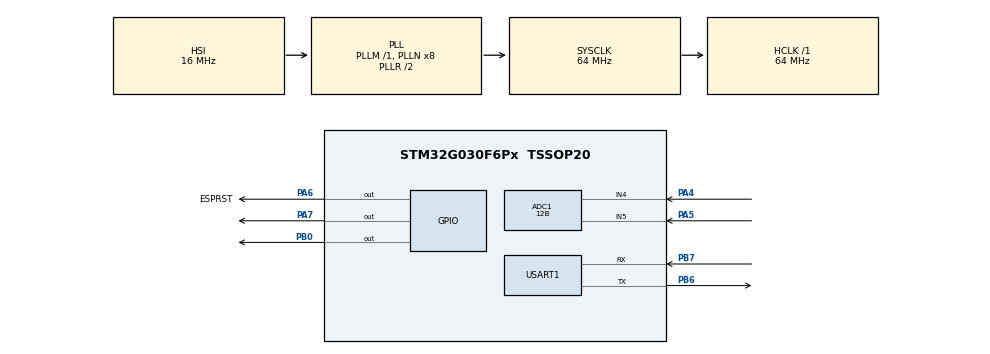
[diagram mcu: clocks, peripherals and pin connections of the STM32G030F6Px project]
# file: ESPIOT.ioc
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ADC1.Channel-0\#ChannelRegularConversion=ADC_CHANNEL_4
ADC1.Channel-1\#ChannelRegularConversion=ADC_CHANNEL_5
ADC1.ContinuousConvMode=DISABLE
ADC1.DMAContinuousRequests=ENABLE
ADC1.ExternalTrigConv=ADC_EXTERNALTRIG_T3_TRGO
ADC1.NbrOfConversion=2
ADC1.NbrOfConversionFlag=1
ADC1.Overrun=ADC_OVR_DATA_OVERWRITTEN
ADC1.OversamplingMode=ENABLE
ADC1.Rank-0\#ChannelRegularConversion=1
ADC1.Rank-1\#ChannelRegularConversion=2
ADC1.Ratio=ADC_OVERSAMPLING_RATIO_256
ADC1.Resolution=ADC_RESOLUTION_12B
ADC1.RightBitShift=ADC_RIGHTBITSHIFT_8
ADC1.SamplingTime-0\#ChannelRegularConversion=ADC_SAMPLINGTIME_COMMON_1
ADC1.SamplingTime-1\#ChannelRegularConversion=ADC_SAMPLINGTIME_COMMON_2
ADC1.SamplingTimeCommon1=ADC_SAMPLETIME_3CYCLES_5
ADC1.SamplingTimeCommon2=ADC_SAMPLETIME_79CYCLES_5
ADC1.SelectedChannel=ADC_CHANNEL_4|ADC_CHANNEL_5
ADC1.TriggeredMode=ADC_TRIGGEREDMODE_SINGLE_TRIGGER
ADC1.master=1
Dma.ADC1.0.Direction=DMA_PERIPH_TO_MEMORY
Dma.ADC1.0.EventEnable=DISABLE
Dma.ADC1.0.Instance=DMA1_Channel1
Dma.ADC1.0.MemDataAlignment=DMA_MDATAALIGN_HALFWORD
Dma.ADC1.0.MemInc=DMA_MINC_ENABLE
Dma.ADC1.0.Mode=DMA_CIRCULAR
Dma.ADC1.0.PeriphDataAlignment=DMA_PDATAALIGN_HALFWORD
Dma.ADC1.0.PeriphInc=DMA_PINC_DISABLE
Dma.ADC1.0.Polarity=HAL_DMAMUX_REQ_GEN_RISING
Dma.ADC1.0.Priority=DMA_PRIORITY_LOW
Dma.ADC1.0.RequestNumber=1
Dma.ADC1.0.SignalID=NONE
Dma.ADC1.0.SyncEnable=DISABLE
Dma.ADC1.0.SyncPolarity=HAL_DMAMUX_SYNC_NO_EVENT
Dma.ADC1.0.SyncRequestNumber=1
Dma.ADC1.0.SyncSignalID=NONE
Dma.Request0=ADC1
Dma.Request1=USART1_RX
Dma.USART1_RX.1.Direction=DMA_PERIPH_TO_MEMORY
Dma.USART1_RX.1.EventEnable=DISABLE
Dma.USART1_RX.1.Instance=DMA1_Channel2
Dma.USART1_RX.1.MemDataAlignment=DMA_MDATAALIGN_BYTE
Dma.USART1_RX.1.MemInc=DMA_MINC_ENABLE
Dma.USART1_RX.1.Mode=DMA_CIRCULAR
Dma.USART1_RX.1.PeriphDataAlignment=DMA_PDATAALIGN_BYTE
Dma.USART1_RX.1.PeriphInc=DMA_PINC_DISABLE
Dma.USART1_RX.1.Polarity=HAL_DMAMUX_REQ_GEN_RISING
Dma.USART1_RX.1.Priority=DMA_PRIORITY_LOW
Dma.USART1_RX.1.RequestNumber=1
Dma.USART1_RX.1.SignalID=NONE
Dma.USART1_RX.1.SyncEnable=DISABLE
Dma.USART1_RX.1.SyncPolarity=HAL_DMAMUX_SYNC_NO_EVENT
Dma.USART1_RX.1.SyncRequestNumber=1
Dma.USART1_RX.1.SyncSignalID=NONE
Mcu.Family=STM32G0
Mcu.Name=STM32G030F6Px
Mcu.Package=TSSOP20
NVIC.DMA1_Channel1_IRQn=true\:3\:0\:true\:false\:true\:false\:true\:true
NVIC.DMA1_Channel2_3_IRQn=true\:3\:0\:true\:false\:true\:false\:true\:true
PA13.Mode=Serial_Wire
PA13.Signal=SYS_SWDIO
PA14-BOOT0.Mode=Serial_Wire
PA14-BOOT0.Signal=SYS_SWCLK
PA14-BOOT0__PA15.StandardMode=true
PA4.Mode=IN4
PA4.Signal=ADC1_IN4
PA5.Mode=IN5
PA5.Signal=ADC1_IN5
PA6.GPIO_Label=ESPRST
PA6.Signal=GPIO_Output
PA7.Signal=GPIO_Output
PB0.Signal=GPIO_Output
PB0__PB1__PB2__PA8.StandardMode=true
PB3__PB4__PB5__PB6.StandardMode=true
PB6.Mode=Asynchronous
PB6.Signal=USART1_TX
PB7.Mode=Asynchronous
PB7.Signal=USART1_RX
PB7__PB8.StandardMode=true
PC14-OSC32_IN\ (PC14)__PB9.StandardMode=true
ProjectManager.HeapSize=0x200
ProjectManager.StackSize=0x400
ProjectManager.TargetToolchain=CMake
RCC.ADCFreq_Value=64000000
RCC.AHBFreq_Value=64000000
RCC.CortexFreq_Value=64000000
RCC.EXTERNAL_CLOCK_VALUE=12288000
RCC.HCLKFreq_Value=64000000
RCC.HSE_VALUE=8000000
RCC.HSI_VALUE=16000000
RCC.LSE_VALUE=32768
RCC.SYSCLKFreq_VALUE=64000000
RCC.SYSCLKSource=RCC_SYSCLKSOURCE_PLLCLK
RCC.VCOOutputFreq_Value=128000000
TIM3.Period=1200
TIM3.Prescaler=4-1
TIM3.TIM_MasterOutputTrigger=TIM_TRGO_UPDATE
USART1.FIFOMode=FIFOMODE_DISABLE
USART1.VirtualMode-Asynchronous=VM_ASYNC
VP_TIM3_VS_ClockSourceINT.Mode=Internal
board=custom

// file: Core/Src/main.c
/* USER CODE BEGIN Header */
/**
  ******************************************************************************
  * @file           : main.c
  * @brief          : Main program body
  ******************************************************************************
  * @attention
  *
  * Copyright (c) 2024 STMicroelectronics.
  * All rights reserved.
  *
  * This software is licensed under terms that can be found in the LICENSE file
  * in the root directory of this software component.
  * If no LICENSE file comes with this software, it is provided AS-IS.
  *
  ******************************************************************************
  */
/* USER CODE END Header */
#include "main.h"
#include "adc.h"
#include "dma.h"
#include "tim.h"
#include "usart.h"
#include "gpio.h"

/* USER CODE BEGIN Includes */
#include <string.h>
#include <math.h>
#include <stdio.h>

#include "../credentials.h"
#include "../ESP8266/esp8266.h"
#include "../wifihandler/wifihandler.h"
#include "../Flash/flash.h"
/* USER CODE END Includes */

/* USER CODE BEGIN PV */
uint16_t adc_buf[ADC_BUF_LEN];
uint32_t previous_voltage = 0;

WIFI_t wifi;
Connection_t conn;
/* USER CODE END PV */

void SystemClock_Config(void);

/* USER CODE BEGIN 0 */
float SENS_GetCurrent()
{
	float max = 0, min = 4096;
	// 12-bit ADC must be used
	for (uint32_t i = 0; i < ADC_BUF_LEN; i+=2)
	{
		if (adc_buf[i] > max)
			max = adc_buf[i];
		if (adc_buf[i] < min)
			min = adc_buf[i];
	}

	max = max / 4096.0 * 3.3;
	min = min / 4096.0 * 3.3;

	/*
	 * Irms = measured_amplitude * divider_ratio / 2 / ACS712_sensitivity / √2
	 * where
	 * masured_amplitude = fabsf(max - min)
	 * divider_ratio = 1.37 (voltage divider ratio)
	 * division by two is used to get only one side of the sine wave
	 * ACS712_sensitivity = 0.185 mV/A
	 * division by √2 is used to get RMS value
	 *
	 * the numbers below are obtained by doing these multiplications and division in advance
	 */

	// adjust_value == 1.37 * 1.9145
	float adjust_value = 2.62286;
	float abs_amplitude = fabsf(max - min);
	// used with this particular ACS sensor, since its reading is not linear under 0.6A
	if (abs_amplitude < 0.25)
		adjust_value = 2.09;

	// abs_amplitude * 1.37 * 1.9145
	float Irms = abs_amplitude * adjust_value * CURRENT_CALIB_VALUE;

	if (Irms <= CURRENT_DEAD_ZONE) return 0;
	else return Irms;
}

uint32_t SENS_GetVoltage()
{
	// 12-bit ADC must be used
	uint32_t voltage_mean = 0, voltage = 0;
	for (uint32_t i = 1; i < ADC_BUF_LEN; i+=2)
		voltage_mean += adc_buf[i];

	/*
	 * 0.001745 = 3.3 / (4096 * 1024) * 2255
	 * 2255 is a calibration value. the voltage output of the operational amplifier
	 * has to be multiplied by this value to get the value of the mains voltage
	 * 256x, 8-BIT SHIFT OVERSAMPLER IS REQUIRED!
	 */

	voltage = (float)voltage_mean * 0.001731;
	if (voltage > 250)
		return 230;

	voltage = (voltage + previous_voltage) / 2;
		previous_voltage = voltage;

	return voltage * VOLTAGE_CALIB_VALUE;
}

HAL_StatusTypeDef ESP_SendRawValue(uint32_t value, uint32_t received_byte)
{
	uint8_t send_buffer[11];
	uint32_t raw_value = *(uint32_t*)&value;

	for (int32_t i = 10; i >= 1; i--)
	{
		send_buffer[i] = raw_value % 10;
		raw_value /= 10;
	}
	send_buffer[0] = received_byte;

	GPIOA->BSRR |= GPIO_PIN_7;
	HAL_StatusTypeDef status = HAL_UART_Transmit(&huart1, send_buffer, 11, HAL_MAX_DELAY);
	GPIOA->BRR |= GPIO_PIN_7;
	return status;
}
/* USER CODE END 0 */

int main(void)
{

  /* MCU Configuration--------------------------------------------------------*/

  /* Reset of all peripherals, Initializes the Flash interface and the Systick. */
  HAL_Init();

  /* Configure the system clock */
  SystemClock_Config();

  /* Initialize all configured peripherals */
  MX_GPIO_Init();
  MX_DMA_Init();
  MX_ADC1_Init();
  MX_USART1_UART_Init();
  MX_TIM3_Init();
  /* USER CODE BEGIN 2 */
  ESP8266_Init();

  memcpy(wifi.SSID, ssid, strlen(ssid));
  memcpy(wifi.pw, password, strlen(password));
  WIFI_Connect(&wifi);
  WIFI_SetName(&wifi, (char*)ESP_NAME);

  WIFI_SetCWMODE(1);
  WIFI_SetCIPMUX(1);
  WIFI_SetCIPSERVER(SERVER_PORT);

#ifdef ENABLE_SAVE_TO_FLASH
  FLASH_ReadSaveData();
  WIFI_SetName(&wifi, savedata.name);
#endif

  HAL_ADCEx_Calibration_Start(&hadc1);
  HAL_ADC_Start_DMA(&hadc1, (uint32_t*)&adc_buf, ADC_BUF_LEN);
  HAL_TIM_Base_Start(&htim3);

  HAL_Delay(250);
  /* USER CODE END 2 */

  /* Infinite loop */
  /* USER CODE BEGIN WHILE */
  Response_t wifistatus = WAITING;
  HAL_GPIO_WritePin(GPIOB, GPIO_PIN_0, 1);
  uint32_t reconnection_timestamp = 0;
  while (1)
  {
	  if (uwTick - reconnection_timestamp > RECONNECTION_DELAY_MILLIS)
	  {
		  // check every RECONNECTION_DELAY_MINS if this device is connected to wifi. if it is, get
		  // latest connection info, otherwise connect
		  WIFI_Connect(&wifi);
		  reconnection_timestamp = uwTick;
	  }

	  wifistatus = WAITING;
	  // HANDLE WIFI CONNECTION
	  wifistatus = WIFI_ReceiveRequest(&wifi, &conn, AT_SHORT_TIMEOUT);
	  if (wifistatus == OK)
	  {
		  HAL_GPIO_TogglePin(STATUS_Port, STATUS_Pin);
		  char* key_ptr = NULL;

		  if ((key_ptr = WIFI_RequestHasKey(&conn, "wifi")))
			  WIFIHANDLER_HandleWiFiRequest(&conn, key_ptr);

		  else if (conn.request_type == GET)
		  {
			  if ((key_ptr = WIFI_RequestHasKey(&conn, "features")))
			  {
				  feature_voltage = SENS_GetVoltage();
				  float current = SENS_GetCurrent();
				  if (current < CURRENT_THRESHOLD)
					  current = 0.0f;
				  feature_current_integer_part = current;
				  feature_current_decimal_part = current * 100 - feature_current_integer_part * 100;
				  float power = feature_voltage * current;
				  feature_power_integer_part = power;
				  feature_power_decimal_part = power * 100 - feature_power_integer_part * 100;
				  WIFIHANDLER_HandleFeaturePacket(&conn, (char*)FEATURES_TEMPLATE);
			  }
			  else if ((key_ptr = WIFI_RequestHasKey(&conn, "notification")))
				  WIFIHANDLER_HandleNotificationRequest(&conn, key_ptr);
			  // other GET requests code here...

			  else WIFI_SendResponse(&conn, "404 Not Found", "Unknown command", 15);
		  }

		  else if (conn.request_type == POST)
		  {
			  // other POST requests code here...
		  }

		  // other requests code here...

		  HAL_GPIO_TogglePin(STATUS_Port, STATUS_Pin);
	  }
	  else if (wifistatus != TIMEOUT)
	  {
		  sprintf(wifi.buf, "Status: %d", wifistatus);
		  WIFI_ResetComm(&wifi, &conn);
		  WIFI_SendResponse(&conn, "500 Internal server error", wifi.buf, strlen(wifi.buf));
	  }

	  WIFI_ResetConnectionIfError(&wifi, &conn, wifistatus);

	  LED_Strobe();
	  /*uint8_t uart_buf[11];
	  GPIOB->BSRR |= GPIO_PIN_0;
	  HAL_UART_Receive(&huart1, uart_buf, 11, 10);
	  GPIOB->BRR |= GPIO_PIN_0;
	  //HAL_Delay(250);
	  if (uart_buf[0] == 0x10)
	  {
		  uart_buf[0] = 0x00;
		  uint8_t data[1] = {0x01};
		  HAL_UART_Transmit(&huart1, data, 1, HAL_MAX_DELAY);
	  }
	  else if (uart_buf[0] == 0x12)
	  {
		  uart_buf[0] = 0x00;
		  float current = SENS_GetCurrent();
		  ESP_SendRawValue(*(uint32_t*)&current, 0x12);
	  }
	  else if (uart_buf[0] == 0x13)
	  {
		  uart_buf[0] = 0x00;
		  uint32_t voltage = SENS_GetVoltage();
		  ESP_SendRawValue(voltage, 0x13);
	  }
	  else if (uart_buf[0] == 0x14)
	  {
		  uart_buf[0] = 0x00;
		  // the power value can be calculated in the esp8266, but why not doing it here?
		  uint32_t power = SENS_GetVoltage() * SENS_GetCurrent();
		  ESP_SendRawValue(power, 0x14);
	  }
	  else if (uart_buf[0] == 0x15)
	  {
		  NVIC_SystemReset();
	  }*/
    /* USER CODE END WHILE */

  }
}

void SystemClock_Config(void)
{
  RCC_OscInitTypeDef RCC_OscInitStruct = {0};
  RCC_ClkInitTypeDef RCC_ClkInitStruct = {0};

  /** Configure the main internal regulator output voltage
  */
  HAL_PWREx_ControlVoltageScaling(PWR_REGULATOR_VOLTAGE_SCALE1);

  /** Initializes the RCC Oscillators according to the specified parameters
  * in the RCC_OscInitTypeDef structure.
  */
  RCC_OscInitStruct.OscillatorType = RCC_OSCILLATORTYPE_HSI;
  RCC_OscInitStruct.HSIState = RCC_HSI_ON;
  RCC_OscInitStruct.HSIDiv = RCC_HSI_DIV1;
  RCC_OscInitStruct.HSICalibrationValue = RCC_HSICALIBRATION_DEFAULT;
  RCC_OscInitStruct.PLL.PLLState = RCC_PLL_ON;
  RCC_OscInitStruct.PLL.PLLSource = RCC_PLLSOURCE_HSI;
  RCC_OscInitStruct.PLL.PLLM = RCC_PLLM_DIV1;
  RCC_OscInitStruct.PLL.PLLN = 8;
  RCC_OscInitStruct.PLL.PLLP = RCC_PLLP_DIV2;
  RCC_OscInitStruct.PLL.PLLR = RCC_PLLR_DIV2;
  if (HAL_RCC_OscConfig(&RCC_OscInitStruct) != HAL_OK)
  {
    Error_Handler();
  }

  /** Initializes the CPU, AHB and APB buses clocks
  */
  RCC_ClkInitStruct.ClockType = RCC_CLOCKTYPE_HCLK|RCC_CLOCKTYPE_SYSCLK
                              |RCC_CLOCKTYPE_PCLK1;
  RCC_ClkInitStruct.SYSCLKSource = RCC_SYSCLKSOURCE_PLLCLK;
  RCC_ClkInitStruct.AHBCLKDivider = RCC_SYSCLK_DIV1;
  RCC_ClkInitStruct.APB1CLKDivider = RCC_HCLK_DIV1;

  if (HAL_RCC_ClockConfig(&RCC_ClkInitStruct, FLASH_LATENCY_2) != HAL_OK)
  {
    Error_Handler();
  }
}

/* USER CODE BEGIN 4 */
/*void HAL_UART_RxCpltCallback(UART_HandleTypeDef *huart)
{
    //HAL_UART_Transmit(&huart1, UART1_rxBuffer, 12, 100);
    HAL_UART_Receive_DMA(&huart1, usart_buf, 16);
}*/

/*void HAL_ADC_ConvCpltCallback(ADC_HandleTypeDef *hadc)
{
}*/

/*void HAL_ADC_ConvHalfCpltCallback(ADC_HandleTypeDef *hadc)
{
	uint32_t maxx = 0, minn = 4096;
	// 12-bit ADC must be used
	for (uint32_t i = 0; i < ADC_BUF_LEN; i+=2)
	{
		if (adc_buf[i] > maxx)
			maxx = adc_buf[i];
		if (adc_buf[i] < minn)
			minn = adc_buf[i];
	}

	max = (float)maxx;
	min = (float)minn;
}*/

/* USER CODE END 4 */

void Error_Handler(void)
{
  __disable_irq();
  while (1)
  {
  }
}
